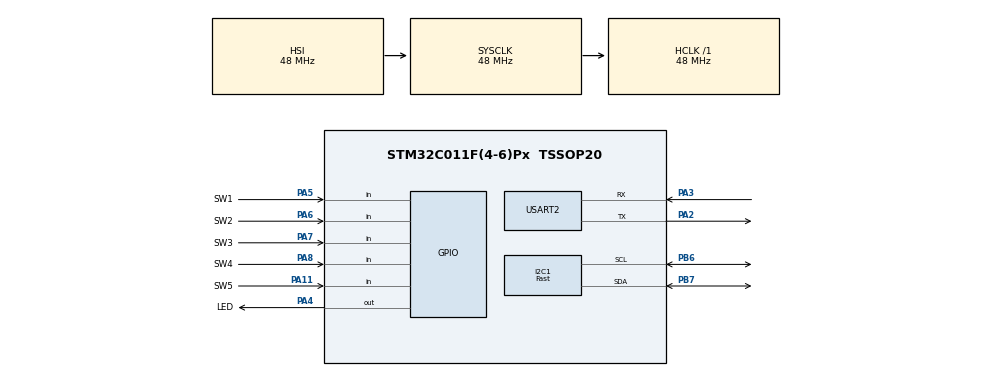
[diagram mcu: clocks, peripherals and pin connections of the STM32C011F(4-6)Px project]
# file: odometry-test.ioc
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Dma.Request0=USART2_RX
Dma.USART2_RX.0.Direction=DMA_PERIPH_TO_MEMORY
Dma.USART2_RX.0.EventEnable=DISABLE
Dma.USART2_RX.0.Instance=DMA1_Channel1
Dma.USART2_RX.0.MemDataAlignment=DMA_MDATAALIGN_BYTE
Dma.USART2_RX.0.MemInc=DMA_MINC_ENABLE
Dma.USART2_RX.0.Mode=DMA_CIRCULAR
Dma.USART2_RX.0.PeriphDataAlignment=DMA_PDATAALIGN_BYTE
Dma.USART2_RX.0.PeriphInc=DMA_PINC_DISABLE
Dma.USART2_RX.0.Polarity=HAL_DMAMUX_REQ_GEN_RISING
Dma.USART2_RX.0.Priority=DMA_PRIORITY_LOW
Dma.USART2_RX.0.RequestNumber=1
Dma.USART2_RX.0.SignalID=NONE
Dma.USART2_RX.0.SyncEnable=DISABLE
Dma.USART2_RX.0.SyncPolarity=HAL_DMAMUX_SYNC_NO_EVENT
Dma.USART2_RX.0.SyncRequestNumber=1
Dma.USART2_RX.0.SyncSignalID=NONE
I2C1.CustomTiming=Disabled
I2C1.I2C_Speed_Mode=I2C_Fast
I2C1.Timing=0x0090194B
Mcu.Family=STM32C0
Mcu.Name=STM32C011F(4-6)Px
Mcu.Package=TSSOP20
NVIC.DMA1_Channel1_IRQn=true\:0\:0\:false\:false\:true\:false\:true\:true
NVIC.TIM3_IRQn=true\:0\:0\:false\:false\:true\:true\:true\:true
PA11\ [PA9].GPIO_Label=SW5
PA11\ [PA9].Signal=GPIO_Input
PA2.Mode=Asynchronous
PA2.Signal=USART2_TX
PA3.Mode=Asynchronous
PA3.Signal=USART2_RX
PA4.GPIO_Label=LED
PA4.Signal=GPIO_Output
PA5.GPIO_Label=SW1
PA5.Signal=GPIO_Input
PA6.GPIO_Label=SW2
PA6.Signal=GPIO_Input
PA7.GPIO_Label=SW3
PA7.Signal=GPIO_Input
PA8.GPIO_Label=SW4
PA8.Signal=GPIO_Input
PB6.Mode=I2C
PB6.Signal=I2C1_SCL
PB7.Mode=I2C
PB7.Signal=I2C1_SDA
PC14-OSCX_IN\ (PC14).Mode=HSE-External-Oscillator-REMAPPED
PC14-OSCX_IN\ (PC14).Signal=RCC_OSCX_IN
PC15-OSCX_OUT\ (PC15).Mode=HSE-External-Oscillator-REMAPPED
PC15-OSCX_OUT\ (PC15).Signal=RCC_OSCX_OUT
ProjectManager.HeapSize=0x200
ProjectManager.StackSize=0x400
ProjectManager.TargetToolchain=STM32CubeIDE
RCC.ADCFreq_Value=48000000
RCC.AHBFreq_Value=48000000
RCC.CortexFreq_Value=48000000
RCC.EXTERNAL_CLOCK_VALUE=12288000
RCC.HCLKFreq_Value=48000000
RCC.HSE_VALUE=16000000
RCC.HSISYSCLKDivider=RCC_HSI_DIV1
RCC.HSI_VALUE=48000000
RCC.LSE_VALUE=32768
RCC.SYSCLKFreq_VALUE=48000000
TIM3.Prescaler=47
USART2.VirtualMode-Asynchronous=VM_ASYNC
VP_TIM3_VS_ClockSourceINT.Mode=Internal
board=custom

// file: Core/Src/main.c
/* USER CODE BEGIN Header */
/**
  ******************************************************************************
  * @file           : main.c
  * @brief          : Main program body
  ******************************************************************************
  * @attention
  *
  * Copyright (c) 2024 STMicroelectronics.
  * All rights reserved.
  *
  * This software is licensed under terms that can be found in the LICENSE file
  * in the root directory of this software component.
  * If no LICENSE file comes with this software, it is provided AS-IS.
  *
  ******************************************************************************
  */
/* USER CODE END Header */
#include "main.h"

/* USER CODE BEGIN Includes */
#include <math.h>
#include <stdio.h>
#include <stdlib.h>
/* USER CODE END Includes */

I2C_HandleTypeDef hi2c1;

TIM_HandleTypeDef htim3;

UART_HandleTypeDef huart2;
DMA_HandleTypeDef hdma_usart2_rx;

/* USER CODE BEGIN PV */
uint8_t rxBufA[2] = {};
uint8_t rxBufB[128] = {[0 ... 127] = 255};
uint8_t send_array[3] = {};

uint8_t p_wrtptB = 0;
uint8_t p_rdptB = 0;

uint8_t rx_check = 0;
uint8_t tx_check = 1;
uint16_t stop_counter = 0;
uint16_t error_counter = 0;

long totalAng = 0;
long ptotalAng = 0;
uint16_t firstAng;
uint16_t Angle;
uint16_t pAngle;

int16_t position = 0;
uint16_t send_position = 20000;

volatile uint32_t counter;
uint64_t u_counter;
uint16_t dtime;
uint64_t buf_pcounter;

/* USER CODE END PV */

void SystemClock_Config(void);
static void MX_GPIO_Init(void);
static void MX_DMA_Init(void);
static void MX_I2C1_Init(void);
static void MX_USART2_UART_Init(void);
static void MX_TIM3_Init(void);
/* USER CODE BEGIN PFP */
void readBuf(UART_HandleTypeDef* uart, uint8_t* buf, int buf_size, uint8_t* data, uint8_t id, uint8_t* p_wrtpt, uint8_t* p_rdpt, uint16_t* stop_counter, uint16_t* error_counter);
uint8_t readID();
int readINDEX(UART_HandleTypeDef* uart, uint8_t* buf, int buf_size);
/* USER CODE END PFP */

/* USER CODE BEGIN 0 */
uint64_t readCounter()
{
  return (counter*65535) + TIM3->CNT;
}

void HAL_TIM_PeriodElapsedCallback(TIM_HandleTypeDef *htim)
{
    if (htim == &htim3){
        counter++;
    }
}
/* USER CODE END 0 */

int main(void)
{

  /* MCU Configuration--------------------------------------------------------*/

  /* Reset of all peripherals, Initializes the Flash interface and the Systick. */
  HAL_Init();

  /* Configure the system clock */
  SystemClock_Config();

  /* Initialize all configured peripherals */
  MX_GPIO_Init();
  MX_DMA_Init();
  MX_I2C1_Init();
  MX_USART2_UART_Init();
  MX_TIM3_Init();
  /* USER CODE BEGIN 2 */
  HAL_TIM_Base_Start_IT(&htim3);
  /* USER CODE END 2 */

  /* Infinite loop */
  /* USER CODE BEGIN WHILE */
  uint16_t AS5600_ADDR = 0x36 << 1;
  uint8_t ANGLE_ADDR = 0x0E;
  uint8_t ID;

  uint64_t d_pcounter, Ltika_pcounter;
  d_pcounter = Ltika_pcounter = readCounter();

  if(readID() < 2){
	  ID = readID();//自身のID
  }else{
	  while(1){
		  if(readCounter() - Ltika_pcounter > 100000){
		  	HAL_GPIO_TogglePin(LED_GPIO_Port, LED_Pin);
	    	Ltika_pcounter = readCounter();
		  }else{}
	  }
  }

  HAL_UART_Receive_DMA(&huart2,rxBufB,128);

  HAL_I2C_Master_Transmit(&hi2c1, AS5600_ADDR, &ANGLE_ADDR, 1, 10);
  HAL_I2C_Master_Receive(&hi2c1, AS5600_ADDR, rxBufA, 2, 10);

  pAngle = rxBufA[0]*256 + rxBufA[1];
  ptotalAng = firstAng = pAngle;

  while (1)
  {
	u_counter = readCounter();

	HAL_I2C_Master_Transmit(&hi2c1, AS5600_ADDR, &ANGLE_ADDR, 1, 10);
	HAL_I2C_Master_Receive(&hi2c1, AS5600_ADDR, rxBufA, 2, 10);

	dtime = readCounter() - d_pcounter;
	d_pcounter += dtime;

	Angle = rxBufA[0]*256 + rxBufA[1];

	if(Angle-pAngle>0 && abs(Angle-pAngle)<3000){
		totalAng = ptotalAng + (Angle-pAngle);
	}else if(Angle-pAngle<0 && abs(Angle-pAngle)<3000){
		totalAng = ptotalAng + (Angle-pAngle);
	}else if(Angle-pAngle>0 && abs(Angle-pAngle)>3000){
		totalAng = ptotalAng - ((4095-Angle)+pAngle);
	}else if(Angle-pAngle<0 && abs(Angle-pAngle)>3000){
		totalAng = ptotalAng + Angle + (4095-pAngle);
	}else{
		totalAng = ptotalAng;
	}

	ptotalAng = totalAng;
	pAngle = Angle;

	position = (totalAng - firstAng)*1000/26947;

	readBuf(&huart2, rxBufB, 128, &rx_check, ID, &p_wrtptB, &p_rdptB, &stop_counter, &error_counter);

	if(rx_check == 1){
		buf_pcounter = readCounter();
		rx_check = 0;
		tx_check = 0;
	}else{}

	if((readCounter() - buf_pcounter) > 500 && tx_check == 0){
		send_position = position + 20000;
		send_array[0] = 248+ID;
		send_array[1] = send_position % 200;
		send_array[2] = send_position / 200;

		if(HAL_UART_Transmit(&huart2, send_array, 3, 1) == HAL_OK){
			HAL_GPIO_TogglePin(LED_GPIO_Port, LED_Pin);
		tx_check = 1;
		}else{}
	}else{}

//	if(rx_check == 1){
//		send_position = position + 20000;
//		send_array[0] = 254;
//		send_array[1] = send_position % 200;
//		send_array[2] = send_position / 200;
//
//		HAL_Delay(1);
//
//		if(HAL_UART_Transmit(&huart2, send_array, 3, 10) == HAL_OK){
//			HAL_GPIO_TogglePin(LED_GPIO_Port, LED_Pin);
//		}
//	}

//Lチカ部
//	if(readCounter() - Ltika_pcounter > 1000000){
//		HAL_GPIO_TogglePin(LED_GPIO_Port, LED_Pin);
//		Ltika_pcounter = readCounter();
//	}else{}

    /* USER CODE END WHILE */

  }
}

void SystemClock_Config(void)
{
  RCC_OscInitTypeDef RCC_OscInitStruct = {0};
  RCC_ClkInitTypeDef RCC_ClkInitStruct = {0};

  /** Initializes the RCC Oscillators according to the specified parameters
  * in the RCC_OscInitTypeDef structure.
  */
  RCC_OscInitStruct.OscillatorType = RCC_OSCILLATORTYPE_HSI;
  RCC_OscInitStruct.HSIState = RCC_HSI_ON;
  RCC_OscInitStruct.HSIDiv = RCC_HSI_DIV1;
  RCC_OscInitStruct.HSICalibrationValue = RCC_HSICALIBRATION_DEFAULT;
  if (HAL_RCC_OscConfig(&RCC_OscInitStruct) != HAL_OK)
  {
    Error_Handler();
  }

  /** Initializes the CPU, AHB and APB buses clocks
  */
  RCC_ClkInitStruct.ClockType = RCC_CLOCKTYPE_HCLK|RCC_CLOCKTYPE_SYSCLK
                              |RCC_CLOCKTYPE_PCLK1;
  RCC_ClkInitStruct.SYSCLKSource = RCC_SYSCLKSOURCE_HSI;
  RCC_ClkInitStruct.SYSCLKDivider = RCC_SYSCLK_DIV1;
  RCC_ClkInitStruct.AHBCLKDivider = RCC_HCLK_DIV1;
  RCC_ClkInitStruct.APB1CLKDivider = RCC_APB1_DIV1;

  if (HAL_RCC_ClockConfig(&RCC_ClkInitStruct, FLASH_LATENCY_1) != HAL_OK)
  {
    Error_Handler();
  }
}

static void MX_I2C1_Init(void)
{

  hi2c1.Instance = I2C1;
  hi2c1.Init.Timing = 0x0090194B;
  hi2c1.Init.OwnAddress1 = 0;
  hi2c1.Init.AddressingMode = I2C_ADDRESSINGMODE_7BIT;
  hi2c1.Init.DualAddressMode = I2C_DUALADDRESS_DISABLE;
  hi2c1.Init.OwnAddress2 = 0;
  hi2c1.Init.OwnAddress2Masks = I2C_OA2_NOMASK;
  hi2c1.Init.GeneralCallMode = I2C_GENERALCALL_DISABLE;
  hi2c1.Init.NoStretchMode = I2C_NOSTRETCH_DISABLE;
  if (HAL_I2C_Init(&hi2c1) != HAL_OK)
  {
    Error_Handler();
  }

  /** Configure Analogue filter
  */
  if (HAL_I2CEx_ConfigAnalogFilter(&hi2c1, I2C_ANALOGFILTER_ENABLE) != HAL_OK)
  {
    Error_Handler();
  }

  /** Configure Digital filter
  */
  if (HAL_I2CEx_ConfigDigitalFilter(&hi2c1, 0) != HAL_OK)
  {
    Error_Handler();
  }

}

static void MX_TIM3_Init(void)
{

  TIM_ClockConfigTypeDef sClockSourceConfig = {0};
  TIM_MasterConfigTypeDef sMasterConfig = {0};

  htim3.Instance = TIM3;
  htim3.Init.Prescaler = 47;
  htim3.Init.CounterMode = TIM_COUNTERMODE_UP;
  htim3.Init.Period = 65535;
  htim3.Init.ClockDivision = TIM_CLOCKDIVISION_DIV1;
  htim3.Init.AutoReloadPreload = TIM_AUTORELOAD_PRELOAD_DISABLE;
  if (HAL_TIM_Base_Init(&htim3) != HAL_OK)
  {
    Error_Handler();
  }
  sClockSourceConfig.ClockSource = TIM_CLOCKSOURCE_INTERNAL;
  if (HAL_TIM_ConfigClockSource(&htim3, &sClockSourceConfig) != HAL_OK)
  {
    Error_Handler();
  }
  sMasterConfig.MasterOutputTrigger = TIM_TRGO_RESET;
  sMasterConfig.MasterSlaveMode = TIM_MASTERSLAVEMODE_DISABLE;
  if (HAL_TIMEx_MasterConfigSynchronization(&htim3, &sMasterConfig) != HAL_OK)
  {
    Error_Handler();
  }

}

static void MX_USART2_UART_Init(void)
{

  huart2.Instance = USART2;
  huart2.Init.BaudRate = 115200;
  huart2.Init.WordLength = UART_WORDLENGTH_8B;
  huart2.Init.StopBits = UART_STOPBITS_1;
  huart2.Init.Parity = UART_PARITY_NONE;
  huart2.Init.Mode = UART_MODE_TX_RX;
  huart2.Init.HwFlowCtl = UART_HWCONTROL_NONE;
  huart2.Init.OverSampling = UART_OVERSAMPLING_16;
  huart2.Init.OneBitSampling = UART_ONE_BIT_SAMPLE_DISABLE;
  huart2.Init.ClockPrescaler = UART_PRESCALER_DIV1;
  huart2.AdvancedInit.AdvFeatureInit = UART_ADVFEATURE_NO_INIT;
  if (HAL_UART_Init(&huart2) != HAL_OK)
  {
    Error_Handler();
  }

}

static void MX_DMA_Init(void)
{

  /* DMA controller clock enable */
  __HAL_RCC_DMA1_CLK_ENABLE();

  /* DMA interrupt init */
  /* DMA1_Channel1_IRQn interrupt configuration */
  HAL_NVIC_SetPriority(DMA1_Channel1_IRQn, 0, 0);
  HAL_NVIC_EnableIRQ(DMA1_Channel1_IRQn);

}

static void MX_GPIO_Init(void)
{
  GPIO_InitTypeDef GPIO_InitStruct = {0};

  /* GPIO Ports Clock Enable */
  __HAL_RCC_GPIOB_CLK_ENABLE();
  __HAL_RCC_GPIOC_CLK_ENABLE();
  __HAL_RCC_GPIOA_CLK_ENABLE();

  /*Configure GPIO pin Output Level */
  HAL_GPIO_WritePin(LED_GPIO_Port, LED_Pin, GPIO_PIN_RESET);

  /*Configure GPIO pin : LED_Pin */
  GPIO_InitStruct.Pin = LED_Pin;
  GPIO_InitStruct.Mode = GPIO_MODE_OUTPUT_PP;
  GPIO_InitStruct.Pull = GPIO_NOPULL;
  GPIO_InitStruct.Speed = GPIO_SPEED_FREQ_LOW;
  HAL_GPIO_Init(LED_GPIO_Port, &GPIO_InitStruct);

  /*Configure GPIO pins : SW1_Pin SW2_Pin SW3_Pin SW4_Pin
                           SW5_Pin */
  GPIO_InitStruct.Pin = SW1_Pin|SW2_Pin|SW3_Pin|SW4_Pin
                          |SW5_Pin;
  GPIO_InitStruct.Mode = GPIO_MODE_INPUT;
  GPIO_InitStruct.Pull = GPIO_NOPULL;
  HAL_GPIO_Init(GPIOA, &GPIO_InitStruct);

}

/* USER CODE BEGIN 4 */
void readBuf(UART_HandleTypeDef* uart, uint8_t* buf, int buf_size, uint8_t* data, uint8_t id, uint8_t* p_wrtpt, uint8_t* p_rdpt, uint16_t* stop_counter, uint16_t* error_counter){
	int wrt_pt = uart->hdmarx->Instance->CNDTR;
	wrt_pt= buf_size - wrt_pt;
	int rd_pt;

	if(wrt_pt != *p_rdpt){//wrtに追�?付かれてな�?
		if(buf[*p_rdpt] == 255){//p_rdptが書き換えられてな�?=追�?越されてな�?
			if(wrt_pt != *p_wrtpt){//wrt_ptが�?�んだ=受信した
//正常
				*stop_counter = 0;
				rd_pt = *p_rdpt;
			}else{//wrt_ptが�?�んでな�?=受信してな�?
//受信してな�?
				(*stop_counter)++;
				rd_pt = *p_rdpt;
			}
		}else{//p_rdptが書き換えられた=追�?越された
//追�?越された
			(*error_counter)++;
			rd_pt = wrt_pt - 20;
				if(rd_pt < 0){rd_pt += buf_size;}
		}
	}else{//wrtに追�?付かれた,追�?付い�?
		int front_pt = wrt_pt + 1;
			if(front_pt>buf_size-1){front_pt -= buf_size;}

		if(buf[front_pt] == 255){
//追�?付い�?
			(*stop_counter)++;
			rd_pt = *p_rdpt;
		}else{
//追�?付かれた
			(*error_counter)++;
			rd_pt = wrt_pt - 20;
				if(rd_pt < 0){rd_pt += buf_size;}
		}
	}

	if(*stop_counter > 65500){*stop_counter = 65500;}
	if(*error_counter > 65500){*error_counter = 65500;}

//特別
	*data = 0;
//特別

	while(1){
		int dif_pt = wrt_pt - rd_pt;
			if(dif_pt < 0){dif_pt += buf_size;}
		if(dif_pt <= 1){break;}

		rd_pt++;
			if(rd_pt>buf_size-1){rd_pt -= buf_size;}

//		if(buf[rd_pt] == 250+id){
//			int goal_rdpt = rd_pt + data_size;//data_sizeに0はとれな�?,25以上も�?�?
//				if(goal_rdpt>buf_size-1){goal_rdpt -= buf_size;}
//			int temp_rdpt = rd_pt;
//			buf[rd_pt] = 255;
//
//			for(int i=0; temp_rdpt==goal_rdpt; i++){
//				temp_rdpt += 1;
//					if(temp_rdpt>buf_size-1){temp_rdpt -= buf_size;}
//
//				data[i] = buf[temp_rdpt];
//				buf[temp_rdpt] = 255;
//			}
//
//			rd_pt = temp_rdpt;
//
//			dif_pt = wrt_pt - rd_pt;
//				if(dif_pt < 0){dif_pt += buf_size;}
//			if(dif_pt >= buf_size/2){}
//			else{break;}
//		}else{buf[rd_pt] = 255;}

		if(buf[rd_pt] == 248+id){
			*data = 1;
			buf[rd_pt] = 255;

			dif_pt = wrt_pt - rd_pt;
				if(dif_pt < 0){dif_pt += buf_size;}
			if(dif_pt >= buf_size/2){}
			else{break;}
			break;
		}else{buf[rd_pt] = 255;}
	}

	*p_rdpt = rd_pt;
//	*p_wrtpt = buf_size - (uart->hdmarx->Instance->CNDTR);
	*p_wrtpt = wrt_pt;
}

int readINDEX(UART_HandleTypeDef* uart, uint8_t* buf, int buf_size){
	int index = uart->hdmarx->Instance->CNDTR;
	index = buf_size - index;
	return index;
}

uint8_t readID(){
	uint8_t id;
	if(HAL_GPIO_ReadPin(SW1_GPIO_Port, SW1_Pin)==1){id=0;}
	else if(HAL_GPIO_ReadPin(SW2_GPIO_Port, SW2_Pin)==1){id=1;}
	else if(HAL_GPIO_ReadPin(SW3_GPIO_Port, SW3_Pin)==1){id=2;}
	else if(HAL_GPIO_ReadPin(SW4_GPIO_Port, SW4_Pin)==1){id=3;}
	else if(HAL_GPIO_ReadPin(SW5_GPIO_Port, SW5_Pin)==1){id=4;}
	else{id=5;}
	return id;
}
/* USER CODE END 4 */

void Error_Handler(void)
{
  __disable_irq();
  while (1)
  {
  }
}
